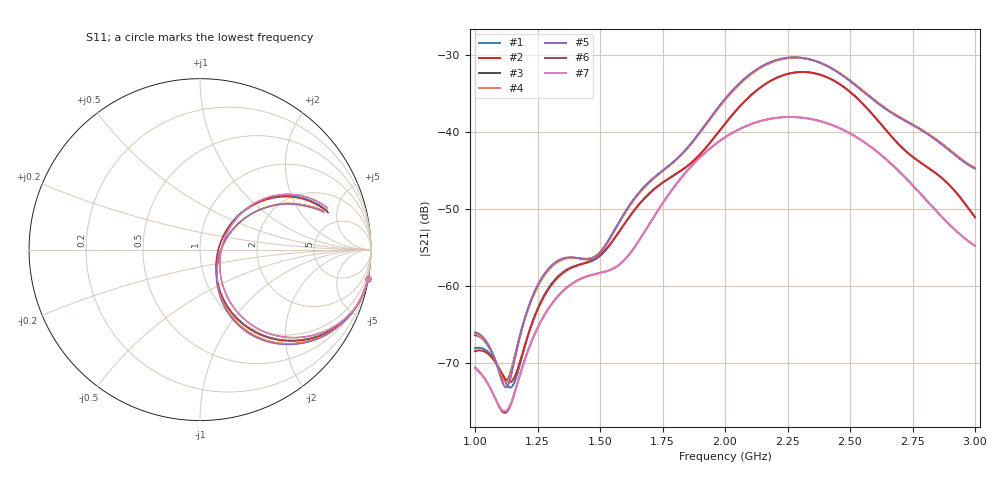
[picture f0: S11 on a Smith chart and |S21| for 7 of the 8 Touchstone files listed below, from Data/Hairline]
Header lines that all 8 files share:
! TOUCHSTONE file generated by CST MICROWAVE STUDIO
! Project name: hairline.cst
! Header version: 2024
! Port assignment regex: !\s*Touchstone port\s*([0-9]+)\s*=\s*(CST MWS port|CST DES external port|CST DES block port)\s*(.+)\s* \(\"(.*)\"\)(\s*mode\s*([0-9]+))?.*
! Touchstone port assignment:
! Touchstone port 1 = CST MWS port 1 ("")
! Touchstone port 2 = CST MWS port 2 ("")
# GHz S DB R 50
Fixed: B = 12.5, D = 160, Feed = 2.85625, L = 100, R = 0.384908, S = 1.5, Theta = 270, length = 57.125, wave = 114.25
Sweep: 1 GHz to 3 GHz
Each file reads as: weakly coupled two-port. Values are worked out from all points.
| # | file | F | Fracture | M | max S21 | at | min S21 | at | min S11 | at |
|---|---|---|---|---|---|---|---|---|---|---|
| 1 | hairline_41.s2p | 15 | 1 | 50 | -32.25 dB | 2.307 GHz | -73.1 dB | 1.139 GHz | -19.6 dB | 2.38 GHz |
| 2 | hairline_42.s2p | 15 | 2 | 50 | -32.25 dB | 2.309 GHz | -72.5 dB | 1.138 GHz | -19.6 dB | 2.375 GHz |
| 3 | hairline_43.s2p | 25 | 0.5 | 30 | -30.38 dB | 2.276 GHz | -72.3 dB | 1.125 GHz | -18.5 dB | 2.355 GHz |
| 4 | hairline_44.s2p | 25 | 1 | 30 | -30.40 dB | 2.283 GHz | -72.4 dB | 1.125 GHz | -18.5 dB | 2.355 GHz |
| 5 | hairline_45.s2p | 25 | 2 | 30 | -30.34 dB | 2.274 GHz | -73.1 dB | 1.125 GHz | -18.8 dB | 2.347 GHz |
| 6 | hairline_46.s2p | 25 | 0.5 | 50 | -38.07 dB | 2.262 GHz | -76.4 dB | 1.122 GHz | -18.2 dB | 2.399 GHz |
| 7 | hairline_47.s2p | 25 | 1 | 50 | -38.09 dB | 2.265 GHz | -76.2 dB | 1.121 GHz | -18.2 dB | 2.402 GHz |
| 8 | hairline_48.s2p | 25 | 2 | 50 | -38.09 dB | 2.265 GHz | -76.2 dB | 1.121 GHz | -18.2 dB | 2.402 GHz |
